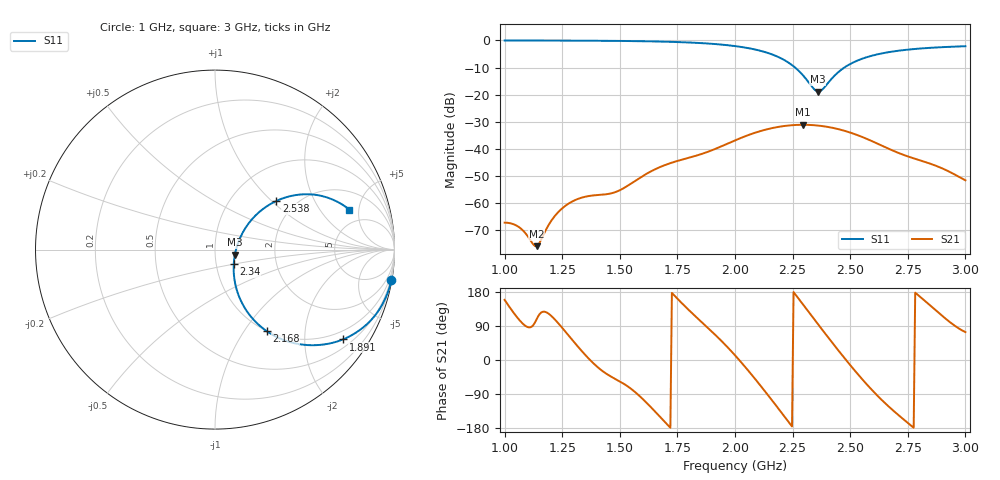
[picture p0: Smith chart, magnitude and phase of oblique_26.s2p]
! TOUCHSTONE file generated by CST MICROWAVE STUDIO
! Date and time: Tue Mar 18 00:00:55 2025
! Project name: oblique.cst
! Parameters = {Tilt=30; Fracture=1; B=10; D=160; F=15; Feed=2.85625; L=100; M=50; R=0.384908; S=1; Theta=180; length=57.125; wave=114.25}
! Header version: 2024
! Port assignment regex: !\s*Touchstone port\s*([0-9]+)\s*=\s*(CST MWS port|CST DES external port|CST DES block port)\s*(.+)\s* \(\"(.*)\"\)(\s*mode\s*([0-9]+))?.*
! Touchstone port assignment:
! Touchstone port 1 = CST MWS port 1 ("")
! Touchstone port 2 = CST MWS port 2 ("")
# GHz S DB R 50
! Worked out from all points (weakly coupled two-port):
!   304 points, 1 GHz to 3 GHz, reference 50 ohm
!   highest |S21| = -31.07 dB at 2.294 GHz (marker M1); lowest = -75.8 dB at 1.139 GHz (marker M2)
!   lowest |S11| = -18.8 dB at 2.36 GHz (marker M3), VSWR 1.26, Z = 62.4 - j3.56 ohm
!   |S11| at or under -10 dB: 2.261 GHz to 2.475 GHz (213.7 MHz wide, 9.03 % of centre)
!   S12 and S22 are empty: the file has one direction only
!   S11 on the Smith chart (normalised r, x): 1 GHz: 0, -12; 1.891 GHz: 0.72, -3.01; 2.168 GHz: 1.00, -1.27; 2.34 GHz: 1.22, -0.20; 2.538 GHz: 1.60, +1.07; 3 GHz: 3.47, +3.95
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1  -0.02 -9.8  -67.12 158.7  -200.00 0.0  -200.00 0.0
1.06601  -0.03 -10.7  -68.99 104.1  -200.00 0.0  -200.00 0.0
1.13861  -0.04 -11.8  -75.78 107.1  -200.00 0.0  -200.00 0.0
1.19802  -0.05 -12.7  -67.01 118.8  -200.00 0.0  -200.00 0.0
1.23102  -0.06 -13.3  -63.40 98.3  -200.00 0.0  -200.00 0.0
1.27723  -0.08 -14.1  -60.13 65.0  -200.00 0.0  -200.00 0.0
1.33663  -0.10 -15.3  -57.86 22.4  -200.00 0.0  -200.00 0.0
1.48845  -0.18 -18.8  -55.62 -52.6  -200.00 0.0  -200.00 0.0
1.66667  -0.41 -24.4  -46.94 -144.8  -200.00 0.0  -200.00 0.0
1.89109  -1.20 -35.1  -40.75 79.8  -200.00 0.0  -200.00 0.0
2.0033  -2.13 -42.8  -36.71 10.2  -200.00 0.0  -200.00 0.0
2.16832  -5.40 -57.7  -32.17 -112.4  -200.00 0.0  -200.00 0.0
2.23432  -8.31 -62.7  -31.33 -164.8  -200.00 0.0  -200.00 0.0
2.29373  -12.72 -60.2  -31.07 147.6  -200.00 0.0  -200.00 0.0
2.33993  -17.63 -37.2  -31.21 110.6  -200.00 0.0  -200.00 0.0
2.35974  -18.83 -14.2  -31.36 94.8  -200.00 0.0  -200.00 0.0
2.37954  -18.07 9.7  -31.56 79.1  -200.00 0.0  -200.00 0.0
2.45875  -10.98 39.9  -32.90 17.5  -200.00 0.0  -200.00 0.0
2.53795  -7.20 38.4  -35.09 -40.8  -200.00 0.0  -200.00 0.0
2.66997  -4.29 30.3  -40.02 -124.3  -200.00 0.0  -200.00 0.0
2.88779  -2.54 20.0  -46.70 122.5  -200.00 0.0  -200.00 0.0
3  -2.15 16.5  -51.52 73.6  -200.00 0.0  -200.00 0.0
